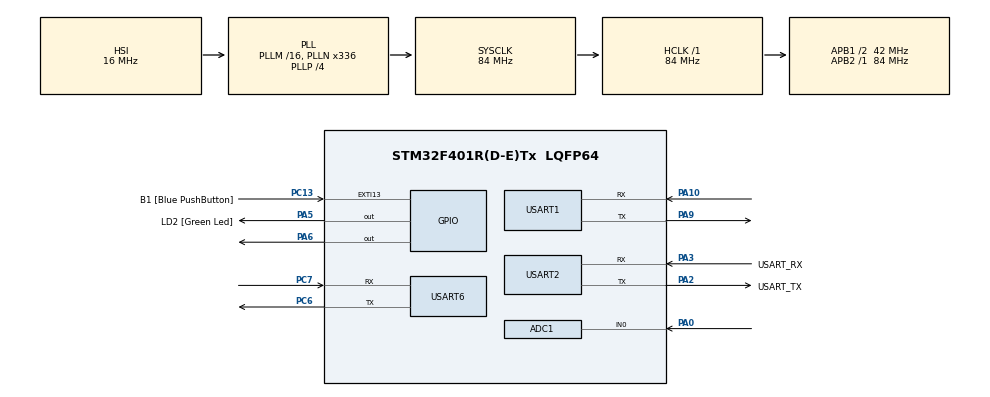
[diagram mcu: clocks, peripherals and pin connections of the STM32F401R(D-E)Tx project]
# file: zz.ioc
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ADC1.Channel-0\#ChannelRegularConversion=ADC_CHANNEL_0
ADC1.ContinuousConvMode=ENABLE
ADC1.InjNumberOfConversion=0
ADC1.NbrOfConversion=1
ADC1.NbrOfConversionFlag=1
ADC1.Rank-0\#ChannelRegularConversion=1
ADC1.SamplingTime-0\#ChannelRegularConversion=ADC_SAMPLETIME_15CYCLES
ADC1.master=1
Mcu.Family=STM32F4
Mcu.Name=STM32F401R(D-E)Tx
Mcu.Package=LQFP64
NVIC.EXTI15_10_IRQn=true\:2\:0\:true\:false\:true\:true\:true\:true
NVIC.PriorityGroup=NVIC_PRIORITYGROUP_2
NVIC.USART1_IRQn=true\:1\:0\:true\:false\:true\:true\:true\:true
NVIC.USART2_IRQn=true\:2\:0\:true\:false\:true\:true\:true\:true
NVIC.USART6_IRQn=true\:1\:0\:true\:false\:true\:true\:true\:true
PA0-WKUP.Signal=ADCx_IN0
PA10.Mode=Asynchronous
PA10.Signal=USART1_RX
PA13.GPIO_Label=TMS
PA13.Mode=Serial_Wire
PA13.Signal=SYS_JTMS-SWDIO
PA14.GPIO_Label=TCK
PA14.Mode=Serial_Wire
PA14.Signal=SYS_JTCK-SWCLK
PA2.GPIO_Label=USART_TX
PA2.GPIO_Mode=GPIO_MODE_AF_PP
PA2.GPIO_PuPd=GPIO_NOPULL
PA2.GPIO_Speed=GPIO_SPEED_FREQ_LOW
PA2.Mode=Asynchronous
PA2.Signal=USART2_TX
PA3.GPIO_Label=USART_RX
PA3.GPIO_Mode=GPIO_MODE_AF_PP
PA3.GPIO_PuPd=GPIO_NOPULL
PA3.GPIO_Speed=GPIO_SPEED_FREQ_LOW
PA3.Mode=Asynchronous
PA3.Signal=USART2_RX
PA5.GPIO_Label=LD2 [Green Led]
PA5.GPIO_Mode=GPIO_MODE_OUTPUT_PP
PA5.GPIO_PuPd=GPIO_NOPULL
PA5.GPIO_Speed=GPIO_SPEED_FREQ_LOW
PA5.Signal=GPIO_Output
PA6.Signal=GPIO_Output
PA9.Mode=Asynchronous
PA9.Signal=USART1_TX
PB3.GPIO_Label=SWO
PB3.Signal=SYS_JTDO-SWO
PC13-ANTI_TAMP.GPIO_Label=B1 [Blue PushButton]
PC13-ANTI_TAMP.GPIO_ModeDefaultEXTI=GPIO_MODE_IT_FALLING
PC13-ANTI_TAMP.GPIO_PuPd=GPIO_NOPULL
PC13-ANTI_TAMP.Signal=GPXTI13
PC14-OSC32_IN.Mode=LSE-External-Oscillator
PC14-OSC32_IN.Signal=RCC_OSC32_IN
PC15-OSC32_OUT.Mode=LSE-External-Oscillator
PC15-OSC32_OUT.Signal=RCC_OSC32_OUT
PC6.Mode=Asynchronous
PC6.Signal=USART6_TX
PC7.Mode=Asynchronous
PC7.Signal=USART6_RX
PH0\ -\ OSC_IN.Mode=HSE-External-Clock-Source
PH0\ -\ OSC_IN.Signal=RCC_OSC_IN
PH1\ -\ OSC_OUT.Mode=HSE-External-Clock-Source
PH1\ -\ OSC_OUT.Signal=RCC_OSC_OUT
ProjectManager.HeapSize=0x200
ProjectManager.StackSize=0x400
ProjectManager.TargetToolchain=STM32CubeIDE
RCC.48MHZClocksFreq_Value=48000000
RCC.AHBFreq_Value=84000000
RCC.APB1CLKDivider=RCC_HCLK_DIV2
RCC.APB1Freq_Value=42000000
RCC.APB1TimFreq_Value=84000000
RCC.APB2Freq_Value=84000000
RCC.APB2TimFreq_Value=84000000
RCC.CortexFreq_Value=84000000
RCC.HCLKFreq_Value=84000000
RCC.HSE_VALUE=8000000
RCC.HSI_VALUE=16000000
RCC.PLLN=336
RCC.PLLP=RCC_PLLP_DIV4
RCC.PLLQ=7
RCC.SYSCLKFreq_VALUE=84000000
RCC.SYSCLKSource=RCC_SYSCLKSOURCE_PLLCLK
RCC.VCOOutputFreq_Value=336000000
SH.ADCx_IN0.0=ADC1_IN0,IN0
USART1.VirtualMode=VM_ASYNC
USART2.VirtualMode=VM_ASYNC
USART6.VirtualMode=VM_ASYNC
board=NUCLEO-F401RE

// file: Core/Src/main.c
/* USER CODE BEGIN Header */
/**
  ******************************************************************************
  * @file           : main.c
  * @brief          : Main program body
  ******************************************************************************
  * @attention
  *
  * Copyright (c) 2024 STMicroelectronics.
  * All rights reserved.
  *
  * This software is licensed under terms that can be found in the LICENSE file
  * in the root directory of this software component.
  * If no LICENSE file comes with this software, it is provided AS-IS.
  *
  ******************************************************************************
  */
/* USER CODE END Header */
#include "main.h"

ADC_HandleTypeDef hadc1;

UART_HandleTypeDef huart1;
UART_HandleTypeDef huart2;
UART_HandleTypeDef huart6;

void SystemClock_Config(void);
static void MX_GPIO_Init(void);
static void MX_USART2_UART_Init(void);
static void MX_USART1_UART_Init(void);
static void MX_ADC1_Init(void);
static void MX_USART6_UART_Init(void);

/* USER CODE BEGIN 0 */
uint8_t buf[256];
int idx = 0;
int state=1;
char buffer[2];
uint8_t rxbuf[1];
void HAL_GPIO_EXTI_Callback(uint16_t GPIO_Pin){
	if(HAL_GPIO_ReadPin(GPIOC, GPIO_PIN_13) == GPIO_PIN_RESET){
		if(state==1){
			state=3;
		}else if(state==2){
			state=4;
		}else if(state==3){
			state=1;
		}else if(state==4){
			state=2;
		}

	}
}
int tmp=0;
void HAL_UART_RxCpltCallback(UART_HandleTypeDef *huart) {
	if(huart->Instance == USART1){
		state = rxbuf[0] - '0';
		sprintf(buf, "%d\n", state);
		HAL_UART_Transmit(&huart2, (uint8_t*)buf, 1, 10);
		memset(rxbuf, 0, sizeof(rxbuf));
		HAL_UART_Receive_IT(&huart1, rxbuf, 1);
		}
    }
/* USER CODE END 0 */

int main(void)
{

  /* MCU Configuration--------------------------------------------------------*/

  /* Reset of all peripherals, Initializes the Flash interface and the Systick. */
  HAL_Init();

  /* Configure the system clock */
  SystemClock_Config();

  /* Initialize all configured peripherals */
  MX_GPIO_Init();
  MX_USART2_UART_Init();
  MX_USART1_UART_Init();
  MX_ADC1_Init();
  MX_USART6_UART_Init();
  /* USER CODE BEGIN 2 */
  HAL_UART_Receive_IT(&huart1, rxbuf, 1);
  HAL_UART_Receive_IT(&huart6, rxbuf, 1);
  //HAL_UART_Receive_IT(&huart2, (uint8_t *)buffer, sizeof(buffer));
  /* USER CODE END 2 */

  /* Infinite loop */
  /* USER CODE BEGIN WHILE */
  int adcval = 0;
  char buf[256];
  int count=0;
  while (1)

  {
//	if(HAL_UART_Receive(&huart1, buf, 256, 100)==HAL_OK){
//		HAL_UART_Transmit(&huart2, (uint8_t *)"kuy!\n", strlen("kuy!\n"), 1000);
//	}
    /* USER CODE END WHILE */

    /* USER CODE BEGIN 3 */
	  	  HAL_ADC_Start(&hadc1);
	 	   if (HAL_ADC_PollForConversion(&hadc1, 1000) == HAL_OK) {// Read the ADC value
	 		   adcval = HAL_ADC_GetValue(&hadc1);
	 		   sprintf (buf, "LDR: %d, count: %d, state: %d\r\n" , adcval,count,state);
	 		   HAL_UART_Transmit(&huart2, buf, strlen(buf), 1000);
	 		   HAL_Delay(100);
	 	   }
	 	   if(count>=3){
	 		   if(state==1){
	 			   state=2;
	 			   HAL_GPIO_WritePin(GPIOA, GPIO_PIN_6, GPIO_PIN_SET);
	 		       sprintf (buffer,"%d\n" ,state);
	 			   HAL_UART_Transmit(&huart1, (uint8_t*)buffer, 2, 1000);
	 		   }else if(state==2){
	 			   state=1;
	 			   HAL_GPIO_WritePin(GPIOA, GPIO_PIN_6, GPIO_PIN_RESET);
	 		       sprintf (buffer,"%d\n" ,state);
	 		       HAL_UART_Transmit(&huart1, (uint8_t*)buffer, 2, 1000);
	 		   }
	 		   count=0;
	 	   }
	 	   if(state==0){ //IDLE
	 		   HAL_GPIO_WritePin(GPIOA, GPIO_PIN_6, GPIO_PIN_RESET);
	 	   }else if(state==1){
	 		  HAL_GPIO_WritePin(GPIOA, GPIO_PIN_6, GPIO_PIN_RESET);
	 		   if(adcval <= 150){
	 			   count++;
	 		   }else{
	 			   count=0;
	 		   }
	 	   }else if(state==2){
	 		  HAL_GPIO_WritePin(GPIOA, GPIO_PIN_6, GPIO_PIN_SET);
	 		   	if(adcval > 150){
	 		   		count++;
	 		   	}else{
	 		   		count=0;
	 		   	}
	 	   }else if(state==3){
	 		  HAL_GPIO_WritePin(GPIOA, GPIO_PIN_6, GPIO_PIN_SET);
	 	   }else if(state==4){
	 		  HAL_GPIO_WritePin(GPIOA, GPIO_PIN_6, GPIO_PIN_RESET);
	 	   }
  }
  /* USER CODE END 3 */
}

void SystemClock_Config(void)
{
  RCC_OscInitTypeDef RCC_OscInitStruct = {0};
  RCC_ClkInitTypeDef RCC_ClkInitStruct = {0};

  /** Configure the main internal regulator output voltage
  */
  __HAL_RCC_PWR_CLK_ENABLE();
  __HAL_PWR_VOLTAGESCALING_CONFIG(PWR_REGULATOR_VOLTAGE_SCALE2);

  /** Initializes the RCC Oscillators according to the specified parameters
  * in the RCC_OscInitTypeDef structure.
  */
  RCC_OscInitStruct.OscillatorType = RCC_OSCILLATORTYPE_HSI;
  RCC_OscInitStruct.HSIState = RCC_HSI_ON;
  RCC_OscInitStruct.HSICalibrationValue = RCC_HSICALIBRATION_DEFAULT;
  RCC_OscInitStruct.PLL.PLLState = RCC_PLL_ON;
  RCC_OscInitStruct.PLL.PLLSource = RCC_PLLSOURCE_HSI;
  RCC_OscInitStruct.PLL.PLLM = 16;
  RCC_OscInitStruct.PLL.PLLN = 336;
  RCC_OscInitStruct.PLL.PLLP = RCC_PLLP_DIV4;
  RCC_OscInitStruct.PLL.PLLQ = 7;
  if (HAL_RCC_OscConfig(&RCC_OscInitStruct) != HAL_OK)
  {
    Error_Handler();
  }

  /** Initializes the CPU, AHB and APB buses clocks
  */
  RCC_ClkInitStruct.ClockType = RCC_CLOCKTYPE_HCLK|RCC_CLOCKTYPE_SYSCLK
                              |RCC_CLOCKTYPE_PCLK1|RCC_CLOCKTYPE_PCLK2;
  RCC_ClkInitStruct.SYSCLKSource = RCC_SYSCLKSOURCE_PLLCLK;
  RCC_ClkInitStruct.AHBCLKDivider = RCC_SYSCLK_DIV1;
  RCC_ClkInitStruct.APB1CLKDivider = RCC_HCLK_DIV2;
  RCC_ClkInitStruct.APB2CLKDivider = RCC_HCLK_DIV1;

  if (HAL_RCC_ClockConfig(&RCC_ClkInitStruct, FLASH_LATENCY_2) != HAL_OK)
  {
    Error_Handler();
  }
}

static void MX_ADC1_Init(void)
{

  ADC_ChannelConfTypeDef sConfig = {0};

  /** Configure the global features of the ADC (Clock, Resolution, Data Alignment and number of conversion)
  */
  hadc1.Instance = ADC1;
  hadc1.Init.ClockPrescaler = ADC_CLOCK_SYNC_PCLK_DIV4;
  hadc1.Init.Resolution = ADC_RESOLUTION_12B;
  hadc1.Init.ScanConvMode = DISABLE;
  hadc1.Init.ContinuousConvMode = ENABLE;
  hadc1.Init.DiscontinuousConvMode = DISABLE;
  hadc1.Init.ExternalTrigConvEdge = ADC_EXTERNALTRIGCONVEDGE_NONE;
  hadc1.Init.ExternalTrigConv = ADC_SOFTWARE_START;
  hadc1.Init.DataAlign = ADC_DATAALIGN_RIGHT;
  hadc1.Init.NbrOfConversion = 1;
  hadc1.Init.DMAContinuousRequests = DISABLE;
  hadc1.Init.EOCSelection = ADC_EOC_SINGLE_CONV;
  if (HAL_ADC_Init(&hadc1) != HAL_OK)
  {
    Error_Handler();
  }

  /** Configure for the selected ADC regular channel its corresponding rank in the sequencer and its sample time.
  */
  sConfig.Channel = ADC_CHANNEL_0;
  sConfig.Rank = 1;
  sConfig.SamplingTime = ADC_SAMPLETIME_15CYCLES;
  if (HAL_ADC_ConfigChannel(&hadc1, &sConfig) != HAL_OK)
  {
    Error_Handler();
  }

}

static void MX_USART1_UART_Init(void)
{

  huart1.Instance = USART1;
  huart1.Init.BaudRate = 115200;
  huart1.Init.WordLength = UART_WORDLENGTH_8B;
  huart1.Init.StopBits = UART_STOPBITS_1;
  huart1.Init.Parity = UART_PARITY_NONE;
  huart1.Init.Mode = UART_MODE_TX_RX;
  huart1.Init.HwFlowCtl = UART_HWCONTROL_NONE;
  huart1.Init.OverSampling = UART_OVERSAMPLING_16;
  if (HAL_UART_Init(&huart1) != HAL_OK)
  {
    Error_Handler();
  }

}

static void MX_USART2_UART_Init(void)
{

  huart2.Instance = USART2;
  huart2.Init.BaudRate = 115200;
  huart2.Init.WordLength = UART_WORDLENGTH_8B;
  huart2.Init.StopBits = UART_STOPBITS_1;
  huart2.Init.Parity = UART_PARITY_NONE;
  huart2.Init.Mode = UART_MODE_TX_RX;
  huart2.Init.HwFlowCtl = UART_HWCONTROL_NONE;
  huart2.Init.OverSampling = UART_OVERSAMPLING_16;
  if (HAL_UART_Init(&huart2) != HAL_OK)
  {
    Error_Handler();
  }

}

static void MX_USART6_UART_Init(void)
{

  huart6.Instance = USART6;
  huart6.Init.BaudRate = 115200;
  huart6.Init.WordLength = UART_WORDLENGTH_8B;
  huart6.Init.StopBits = UART_STOPBITS_1;
  huart6.Init.Parity = UART_PARITY_NONE;
  huart6.Init.Mode = UART_MODE_TX_RX;
  huart6.Init.HwFlowCtl = UART_HWCONTROL_NONE;
  huart6.Init.OverSampling = UART_OVERSAMPLING_16;
  if (HAL_UART_Init(&huart6) != HAL_OK)
  {
    Error_Handler();
  }

}

static void MX_GPIO_Init(void)
{
  GPIO_InitTypeDef GPIO_InitStruct = {0};

  /* GPIO Ports Clock Enable */
  __HAL_RCC_GPIOC_CLK_ENABLE();
  __HAL_RCC_GPIOH_CLK_ENABLE();
  __HAL_RCC_GPIOA_CLK_ENABLE();
  __HAL_RCC_GPIOB_CLK_ENABLE();

  /*Configure GPIO pin Output Level */
  HAL_GPIO_WritePin(GPIOA, LD2_Pin|GPIO_PIN_6, GPIO_PIN_RESET);

  /*Configure GPIO pin : B1_Pin */
  GPIO_InitStruct.Pin = B1_Pin;
  GPIO_InitStruct.Mode = GPIO_MODE_IT_FALLING;
  GPIO_InitStruct.Pull = GPIO_NOPULL;
  HAL_GPIO_Init(B1_GPIO_Port, &GPIO_InitStruct);

  /*Configure GPIO pins : LD2_Pin PA6 */
  GPIO_InitStruct.Pin = LD2_Pin|GPIO_PIN_6;
  GPIO_InitStruct.Mode = GPIO_MODE_OUTPUT_PP;
  GPIO_InitStruct.Pull = GPIO_NOPULL;
  GPIO_InitStruct.Speed = GPIO_SPEED_FREQ_LOW;
  HAL_GPIO_Init(GPIOA, &GPIO_InitStruct);

  /* EXTI interrupt init*/
  HAL_NVIC_SetPriority(EXTI15_10_IRQn, 2, 0);
  HAL_NVIC_EnableIRQ(EXTI15_10_IRQn);

}

void Error_Handler(void)
{
  __disable_irq();
  while (1)
  {
  }
}
